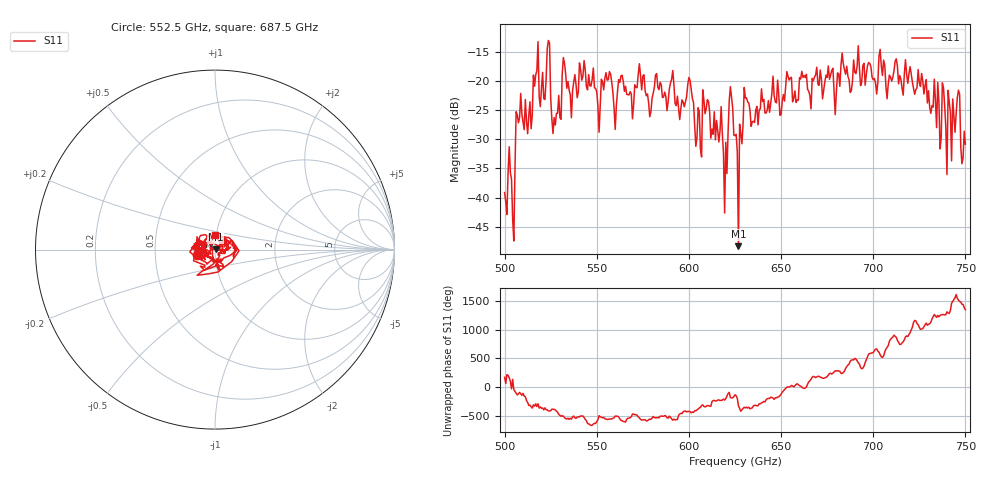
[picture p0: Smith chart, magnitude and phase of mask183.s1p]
!Created with skrf (http://scikit-rf.org).
# GHz S MA R 50.0
!freq magS11 angS11
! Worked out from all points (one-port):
!   401 points, 500 GHz to 750 GHz, reference 50 ohm
!   lowest |S11| = -48.3 dB at 626.9 GHz (marker M1), VSWR 1.01, Z = 50.3 + j0.23 ohm
!   |S11| at or under -10 dB: start of sweep to end of sweep
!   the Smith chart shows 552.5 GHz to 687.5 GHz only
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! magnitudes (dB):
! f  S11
! 500 GHz  -39.1
! 504.4 GHz  -43.7
! 507.5 GHz  -27.2
! 513.8 GHz  -23.6
! 516.9 GHz  -18.9
! 520.6 GHz  -18.5
! 523.8 GHz  -13.0
! 526.9 GHz  -26.3
! 531.2 GHz  -18.8
! 550.6 GHz  -24.2
! 556.2 GHz  -19.8
! 560 GHz  -28.3
! 562.5 GHz  -20.2
! 593.8 GHz  -22.6
! 600.6 GHz  -19.9
! 605.6 GHz  -25.3
! 608.8 GHz  -25.6
! 619.4 GHz  -42.7
! 622.5 GHz  -21.0
! 625 GHz  -29.4
! 626.9 GHz  -48.3
! 631.2 GHz  -22.9
! 656.2 GHz  -23.6
! 687.5 GHz  -21.9
! 718.8 GHz  -20.4
! 741.2 GHz  -23.7
! 745.6 GHz  -22.8
! 750 GHz  -30.8
